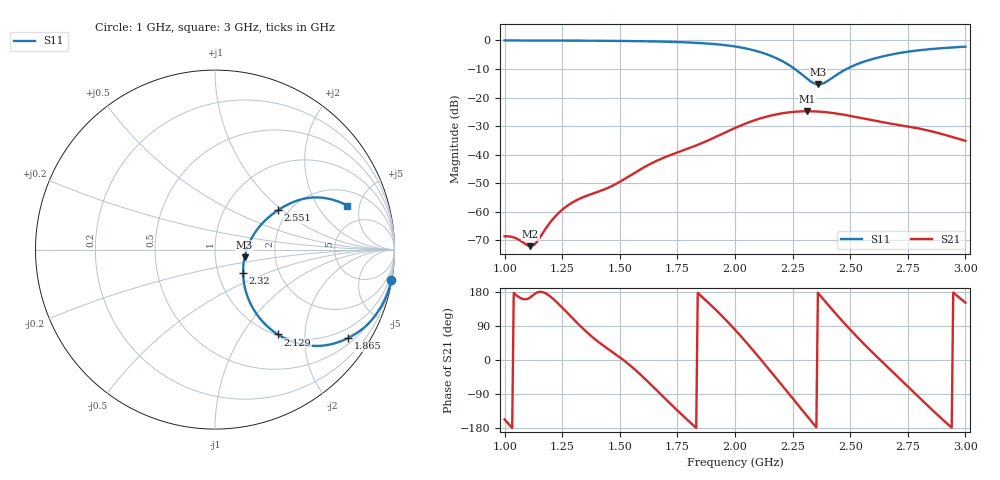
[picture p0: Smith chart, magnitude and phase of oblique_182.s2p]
! TOUCHSTONE file generated by CST MICROWAVE STUDIO
! Date and time: Tue Mar 18 00:02:52 2025
! Project name: oblique.cst
! Parameters = {Tilt=40; Fracture=1; B=12.5; D=160; F=15; Feed=2.85625; L=100; M=10; R=0.384908; S=1; Theta=180; length=57.125; wave=114.25}
! Header version: 2024
! Port assignment regex: !\s*Touchstone port\s*([0-9]+)\s*=\s*(CST MWS port|CST DES external port|CST DES block port)\s*(.+)\s* \(\"(.*)\"\)(\s*mode\s*([0-9]+))?.*
! Touchstone port assignment:
! Touchstone port 1 = CST MWS port 1 ("")
! Touchstone port 2 = CST MWS port 2 ("")
# GHz S DB R 50
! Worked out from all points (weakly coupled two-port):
!   304 points, 1 GHz to 3 GHz, reference 50 ohm
!   highest |S21| = -24.80 dB at 2.314 GHz (marker M1); lowest = -72.0 dB at 1.112 GHz (marker M2)
!   lowest |S11| = -15.4 dB at 2.36 GHz (marker M3), VSWR 1.41, Z = 69.4 - j6.27 ohm
!   |S11| at or under -10 dB: 2.259 GHz to 2.484 GHz (224.8 MHz wide, 9.48 % of centre)
!   S12 and S22 are empty: the file has one direction only
!   S11 on the Smith chart (normalised r, x): 1 GHz: 0, -12; 1.865 GHz: 0.67, -3.18; 2.129 GHz: 1.01, -1.47; 2.32 GHz: 1.32, -0.35; 2.551 GHz: 1.76, +0.93; 3 GHz: 3.07, +3.78
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1  -0.02 -9.8  -68.58 -156.8  -200.00 0.0  -200.00 0.0
1.0462  -0.03 -10.4  -69.15 173.4  -200.00 0.0  -200.00 0.0
1.11221  -0.03 -11.4  -72.03 165.7  -200.00 0.0  -200.00 0.0
1.13861  -0.04 -11.8  -70.66 177.4  -200.00 0.0  -200.00 0.0
1.19802  -0.05 -12.7  -63.68 167.8  -200.00 0.0  -200.00 0.0
1.23762  -0.06 -13.4  -60.16 145.9  -200.00 0.0  -200.00 0.0
1.33663  -0.09 -15.3  -55.02 85.0  -200.00 0.0  -200.00 0.0
1.46865  -0.16 -18.2  -50.87 20.8  -200.00 0.0  -200.00 0.0
1.66667  -0.38 -24.3  -41.90 -83.8  -200.00 0.0  -200.00 0.0
1.86469  -1.02 -33.7  -35.66 162.3  -200.00 0.0  -200.00 0.0
2.0033  -2.17 -43.5  -30.55 77.7  -200.00 0.0  -200.00 0.0
2.12871  -4.60 -53.5  -26.87 -10.9  -200.00 0.0  -200.00 0.0
2.22112  -7.97 -57.2  -25.32 -79.7  -200.00 0.0  -200.00 0.0
2.31353  -13.46 -42.3  -24.80 -148.7  -200.00 0.0  -200.00 0.0
2.32013  -13.87 -39.4  -24.80 -153.6  -200.00 0.0  -200.00 0.0
2.33993  -14.90 -28.4  -24.83 -168.2  -200.00 0.0  -200.00 0.0
2.35974  -15.38 -14.9  -24.91 177.4  -200.00 0.0  -200.00 0.0
2.39274  -14.65 6.5  -25.12 153.6  -200.00 0.0  -200.00 0.0
2.45215  -11.50 26.1  -25.75 112.1  -200.00 0.0  -200.00 0.0
2.55116  -7.68 32.0  -27.25 47.7  -200.00 0.0  -200.00 0.0
2.66997  -5.09 30.2  -29.05 -23.1  -200.00 0.0  -200.00 0.0
3  -2.21 18.4  -35.12 151.3  -200.00 0.0  -200.00 0.0
